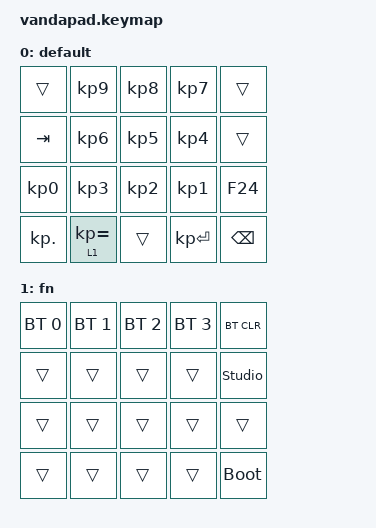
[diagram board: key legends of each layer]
/*
 * Copyright (c) 2021 The ZMK Contributors
 *
 * SPDX-License-Identifier: MIT
 */

#include <behaviors.dtsi>
#include <dt-bindings/zmk/bt.h>
#include <dt-bindings/zmk/keys.h>

/ {
    keymap: keymap {
        compatible = "zmk,keymap";

        default_layer {
            display-name = "default";
            bindings = <
&trans  &kp KP_N9  &kp KP_N8  &kp KP_N7  &trans  &kp TAB  &kp KP_N6  &kp KP_N5  &kp KP_N4  &trans  &kp KP_N0  &kp KP_N3  &kp KP_N2  &kp KP_N1  &kp F24  &kp KP_DOT  &lt 1 KP_EQUAL  &trans  &kp KP_ENTER  &kp BSPC
            >;
        };

        fn_layer {
            display-name = "fn";
            bindings = <
&bt BT_SEL 0  &bt BT_SEL 1  &bt BT_SEL 2  &bt BT_SEL 3  &bt BT_CLR  &trans  &trans  &trans  &trans  &studio_unlock  &trans  &trans  &trans  &trans  &trans  &trans  &trans  &trans  &trans  &bootloader
            >;
        };
    };
};
